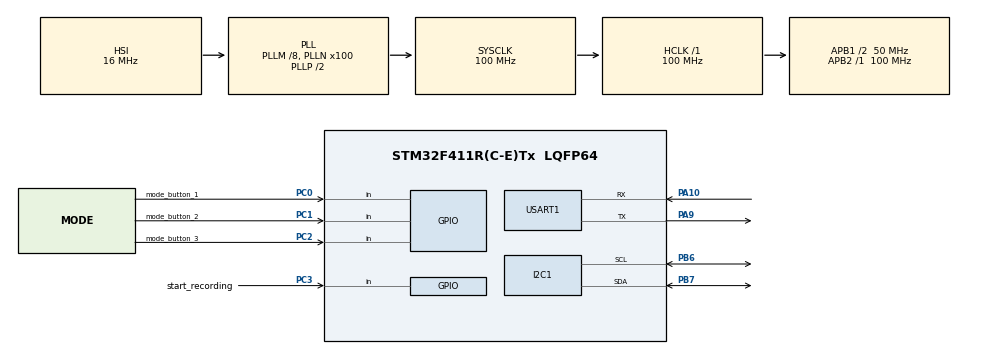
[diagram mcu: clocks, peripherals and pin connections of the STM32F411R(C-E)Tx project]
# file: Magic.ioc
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Dma.I2C1_RX.0.Direction=DMA_PERIPH_TO_MEMORY
Dma.I2C1_RX.0.FIFOMode=DMA_FIFOMODE_DISABLE
Dma.I2C1_RX.0.Instance=DMA1_Stream0
Dma.I2C1_RX.0.MemDataAlignment=DMA_MDATAALIGN_BYTE
Dma.I2C1_RX.0.MemInc=DMA_MINC_ENABLE
Dma.I2C1_RX.0.Mode=DMA_NORMAL
Dma.I2C1_RX.0.PeriphDataAlignment=DMA_PDATAALIGN_BYTE
Dma.I2C1_RX.0.PeriphInc=DMA_PINC_DISABLE
Dma.I2C1_RX.0.Priority=DMA_PRIORITY_LOW
Dma.Request0=I2C1_RX
Mcu.Family=STM32F4
Mcu.Name=STM32F411R(C-E)Tx
Mcu.Package=LQFP64
NVIC.DMA1_Stream0_IRQn=true\:0\:0\:false\:false\:true\:false\:true\:true
NVIC.PriorityGroup=NVIC_PRIORITYGROUP_4
PA10.Mode=Asynchronous
PA10.Signal=USART1_RX
PA9.Mode=Asynchronous
PA9.Signal=USART1_TX
PB6.GPIO_Pu=GPIO_PULLUP
PB6.Mode=I2C
PB6.Signal=I2C1_SCL
PB7.GPIO_Pu=GPIO_PULLUP
PB7.Mode=I2C
PB7.Signal=I2C1_SDA
PC0.GPIO_Label=mode_button_1
PC0.GPIO_PuPd=GPIO_PULLDOWN
PC0.Signal=GPIO_Input
PC1.GPIO_Label=mode_button_2
PC1.GPIO_PuPd=GPIO_PULLDOWN
PC1.Signal=GPIO_Input
PC2.GPIO_Label=mode_button_3
PC2.GPIO_PuPd=GPIO_PULLDOWN
PC2.Signal=GPIO_Input
PC3.GPIO_Label=start_recording
PC3.GPIO_PuPd=GPIO_PULLDOWN
PC3.Signal=GPIO_Input
ProjectManager.HeapSize=0x800
ProjectManager.StackSize=0x800
ProjectManager.TargetToolchain=CMake
RCC.48MHZClocksFreq_Value=28571428.57142857
RCC.AHBFreq_Value=100000000
RCC.APB1CLKDivider=RCC_HCLK_DIV2
RCC.APB1Freq_Value=50000000
RCC.APB1TimFreq_Value=100000000
RCC.APB2Freq_Value=100000000
RCC.APB2TimFreq_Value=100000000
RCC.CortexFreq_Value=100000000
RCC.FLatency-AdvancedSettings=FLASH_LATENCY_3
RCC.HCLKFreq_Value=100000000
RCC.HSE_VALUE=25000000
RCC.HSI_VALUE=16000000
RCC.LSE_VALUE=32768
RCC.PLLM=8
RCC.PLLMUL=RCC_PLL_MUL9
RCC.PLLN=100
RCC.PLLQ=7
RCC.RCC_PLLsource_Clock_Source_FROM_HSE=RCC_HSE_PREDIV_DIV2
RCC.SYSCLKFreq_VALUE=100000000
RCC.SYSCLKSource=RCC_SYSCLKSOURCE_PLLCLK
RCC.SYSCLKSourceVirtual=RCC_SYSCLKSOURCE_PLLCLK
RCC.VCOOutputFreq_Value=200000000
STMicroelectronics.X-CUBE-AI.10.2.0.ActivationBufferSizeList=44468
STMicroelectronics.X-CUBE-AI.10.2.0.ActivationBuffers=pool0
STMicroelectronics.X-CUBE-AI.10.2.0.ActivationNames=pool0
STMicroelectronics.X-CUBE-AI.10.2.0.ActivationSizes=AI_NETWORK_DATA_ACTIVATION_1_SIZE
STMicroelectronics.X-CUBE-AI.10.2.0.HeapSize=0x800
STMicroelectronics.X-CUBE-AI.10.2.0.InternalRamActivationBufferMaxSize=AI_NETWORK_DATA_ACTIVATIONS_SIZE
STMicroelectronics.X-CUBE-AI.10.2.0.LatestDirectoryUsed-aac2bb525f277ee5c01a5426cecc169ef5c06f2aed4a2d6dad746d2e497738af=D\:\\Pobrane
STMicroelectronics.X-CUBE-AI.10.2.0.MaximumNumberOfInputLayer=1
STMicroelectronics.X-CUBE-AI.10.2.0.MaximumNumberOfOutputLayer=1
STMicroelectronics.X-CUBE-AI.10.2.0.MaximumSizeOfInputLayer=1
STMicroelectronics.X-CUBE-AI.10.2.0.MaximumSizeOfOutputLayer=1
STMicroelectronics.X-CUBE-AI.10.2.0.ModelActualCompression-aac2bb525f277ee5c01a5426cecc169ef5c06f2aed4a2d6dad746d2e497738af=0.0
STMicroelectronics.X-CUBE-AI.10.2.0.ModelCompression-aac2bb525f277ee5c01a5426cecc169ef5c06f2aed4a2d6dad746d2e497738af=None
STMicroelectronics.X-CUBE-AI.10.2.0.ModelFlashOccupation-aac2bb525f277ee5c01a5426cecc169ef5c06f2aed4a2d6dad746d2e497738af=250304
STMicroelectronics.X-CUBE-AI.10.2.0.ModelHashList=aac2bb525f277ee5c01a5426cecc169ef5c06f2aed4a2d6dad746d2e497738af
STMicroelectronics.X-CUBE-AI.10.2.0.ModelKind-aac2bb525f277ee5c01a5426cecc169ef5c06f2aed4a2d6dad746d2e497738af=TFLITE
STMicroelectronics.X-CUBE-AI.10.2.0.ModelMacc-aac2bb525f277ee5c01a5426cecc169ef5c06f2aed4a2d6dad746d2e497738af=2096384
STMicroelectronics.X-CUBE-AI.10.2.0.ModelName-aac2bb525f277ee5c01a5426cecc169ef5c06f2aed4a2d6dad746d2e497738af=network
STMicroelectronics.X-CUBE-AI.10.2.0.ModelNameList=network
STMicroelectronics.X-CUBE-AI.10.2.0.ModelRamOccupation-aac2bb525f277ee5c01a5426cecc169ef5c06f2aed4a2d6dad746d2e497738af=44468
STMicroelectronics.X-CUBE-AI.10.2.0.ModelStructureFile-aac2bb525f277ee5c01a5426cecc169ef5c06f2aed4a2d6dad746d2e497738af=D\:\\Pobrane\\model_gestow (9).tflite
STMicroelectronics.X-CUBE-AI.10.2.0.ModelType-aac2bb525f277ee5c01a5426cecc169ef5c06f2aed4a2d6dad746d2e497738af=STM32Cube.AI MCU runtime
STMicroelectronics.X-CUBE-AI.10.2.0.ReadyForCodeGeneration=true
STMicroelectronics.X-CUBE-AI.10.2.0.StackSize=0x800
STMicroelectronics.X-CUBE-AI.10.2.0.WorkingBufferStartAddrList=0xFFFFFFFF
STMicroelectronics.X-CUBE-AI.10.2.0.XAaCUBEAaAICcArtificialOoIntelligenceJjCore=true
STMicroelectronics.X-CUBE-AI.10.2.0.copyWeightToRam=false
STMicroelectronics.X-CUBE-AI.10.2.0.copyWeightToRam-aac2bb525f277ee5c01a5426cecc169ef5c06f2aed4a2d6dad746d2e497738af=false
STMicroelectronics.X-CUBE-AI.10.2.0.customLayerConfigEnabled=false
STMicroelectronics.X-CUBE-AI.10.2.0.customLayerConfigEnabled-aac2bb525f277ee5c01a5426cecc169ef5c06f2aed4a2d6dad746d2e497738af=false
STMicroelectronics.X-CUBE-AI.10.2.0.noOnnxIoTranspose=false
STMicroelectronics.X-CUBE-AI.10.2.0.noOnnxIoTranspose-aac2bb525f277ee5c01a5426cecc169ef5c06f2aed4a2d6dad746d2e497738af=false
STMicroelectronics.X-CUBE-AI.10.2.0.optimization-aac2bb525f277ee5c01a5426cecc169ef5c06f2aed4a2d6dad746d2e497738af=time
STMicroelectronics.X-CUBE-AI.10.2.0.useInputAllocation=true
STMicroelectronics.X-CUBE-AI.10.2.0.useInputAllocation-aac2bb525f277ee5c01a5426cecc169ef5c06f2aed4a2d6dad746d2e497738af=true
STMicroelectronics.X-CUBE-AI.10.2.0.useOutputAllocation=true
STMicroelectronics.X-CUBE-AI.10.2.0.useOutputAllocation-aac2bb525f277ee5c01a5426cecc169ef5c06f2aed4a2d6dad746d2e497738af=true
USART1.VirtualMode=VM_ASYNC
VP_STMicroelectronics.X-CUBE-AI_VS_ArtificialOoIntelligenceJjXAaCUBEAaAI_10.2.0.Mode=ArtificialOoIntelligenceJjXAaCUBEAaAI
board=custom

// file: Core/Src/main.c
/* USER CODE BEGIN Header */
/**
  ******************************************************************************
  * @file           : main.c
  * @brief          : Main program body
  ******************************************************************************
  */
/* USER CODE END Header */
#include "main.h"

/* USER CODE BEGIN Includes */
#include "MPU6050_interface.h"
#include "ai_platform.h"
#include "network.h"      // Zmieniono na relatywną ścieżkę (zakładając poprawny Include Path w CMake)
#include "network_data.h"
#include <string.h>       // Dla memset i memcpy
#include <stdio.h>        // Dla sprintf
/* USER CODE END Includes */

/* USER CODE BEGIN PM */
#define ONE_FULL_SYMBOL_TIME 2000 // Czas w ms między kolejnymi odczytami z MPU6050
#define NUMBER_OF_SAMPLES 100 // Liczba próbek do zebrania podczas nagrywania
#define ONE_SAMPLE_TIME (ONE_FULL_SYMBOL_TIME/NUMBER_OF_SAMPLES) // Czas w ms między kolejnymi odczytami z MPU6050 podczas nagrywania
#define ONE_ML_RUN_INTERVAL 500

static struct MPU6050_Data ONE_BATCH[BATCH_SIZE] = {0}; // Tablica do przechowywania ostatnich 10 odczytów
static struct MPU6050_Data Last_known_data = {0}; // Struktura do przechowywania ostatniego odczytu

/* USER CODE END PM */

I2C_HandleTypeDef hi2c1;
DMA_HandleTypeDef hdma_i2c1_rx;

UART_HandleTypeDef huart1;

/* USER CODE BEGIN PV */
// Zmienne dla AI
ai_handle network = AI_HANDLE_NULL;
ai_buffer *ai_input;
ai_buffer *ai_output;
static ai_network_params params;
/* * POPRAWKA 1: Wymuszenie wyrównania buforów do 32 bajtów (aligned(32)).
 * Zapobiega to błędowi PRECISERR (BusFault) podczas dostępu silnika AI do danych.
 */

/* USER CODE END PV */

void SystemClock_Config(void);
static void MX_GPIO_Init(void);
static void MX_DMA_Init(void);
static void MX_I2C1_Init(void);
static void MX_USART1_UART_Init(void);

/* USER CODE BEGIN 0 */
AI_ALIGNED(32)
static ai_u8 pool0[AI_NETWORK_DATA_ACTIVATIONS_SIZE];

/**
 * POPRAWKA 3: Kompletna i bezpieczna funkcja inicjalizacji.
 * Przekazuje uchwyt 'network' do funkcji pobierających bufory wag i aktywacji.
 */
void MX_X_CUBE_AI_Init(void) {
    ai_error err;

    // 1. Utworzenie instancji
    err = ai_network_create(&network, AI_NETWORK_DATA_CONFIG);
    if (err.type != AI_ERROR_NONE) {
        HAL_UART_Transmit(&huart1, (uint8_t*)"CREATE ERR\r\n", 12, 100);
        return;
    }

    // 2. Czyścimy całą strukturę params (w tym unię i obie struktury wewnątrz)
    memset(&params, 0, sizeof(ai_network_params));

    // 3. Konfiguracja wag (pobieramy domyślne z modelu)
    params.params = ai_network_data_weights_buffer_get(AI_HANDLE_PTR(network));

    // 4. RĘCZNA KONFIGURACJA AKTYWACJI (zgodnie z Twoją strukturą ai_buffer)
    // Używamy AI_BUFFER_FORMAT_NONE lub 0, bo to surowy bufor pamięci dla silnika
    params.activations.format    = 0;
    params.activations.data      = AI_HANDLE_PTR(pool0); // Twój bufor 11KB
    params.activations.meta_info = NULL;
    params.activations.flags     = 0;
    params.activations.size      = 11264; // Liczba bajtów

    // Opcjonalnie: kształt bufora (często wymagane, by nie był zerem)
    // Jeśli Twoja struktura ma n_chunks, ustaw go na 1
    //params.activations.shape.n_chunks = 1;

    // 5. Przekazanie wszystkiego do silnika
    if (!ai_network_init(network, &params)) {
        HAL_UART_Transmit(&huart1, (uint8_t*)"INIT FAIL\r\n", 11, 100);
        while(1);
    }
}
/* USER CODE END 0 */

int main(void)
{

  /* USER CODE BEGIN 1 */
  SCB->CPACR |= ((3UL << 10*2)|(3UL << 11*2));
  /* USER CODE END 1 */

  /* MCU Configuration--------------------------------------------------------*/

  /* Reset of all peripherals, Initializes the Flash interface and the Systick. */
  HAL_Init();

  /* Configure the system clock */
  SystemClock_Config();

  /* Initialize all configured peripherals */
  MX_GPIO_Init();
  MX_DMA_Init();
  MX_I2C1_Init();
  MX_USART1_UART_Init();
  /* USER CODE BEGIN 2 */
 char test[] = "\r\n>>> START\r\n";
  HAL_UART_Transmit(&huart1, (uint8_t*)test, strlen(test), 100);
  HAL_Delay(1000);

  ML_Init();
  uint8_t current_batch_size = 0;
  uint32_t last_time =0;

  int vote_stats[4] = {0, 0, 0, 0}; // Licznik wygranych klas
  uint32_t report_timer = HAL_GetTick();
  /* USER CODE END 2 */

  /* Infinite loop */
  /* USER CODE BEGIN WHILE */
while (1)
{
  // --- 1. POBIERANIE PRÓBKI (np. co 20ms) ---
    // Dodaj zmienną pomocniczą na górze (globalnie lub static)
static int prediction_trigger = 0;

// --- 1. POBIERANIE DANYCH ---
if(HAL_GetTick() - last_time >= ONE_SAMPLE_TIME) {
    last_time = HAL_GetTick();

    MPU6050_Read_All(&Last_known_data);
    MPU6050_Batch_Push_Data(&Last_known_data); // Bufor kołowy o rozmiarze 100

    if(current_batch_size < NUMBER_OF_SAMPLES) {
        current_batch_size++;
    }

    // Licznik próbek do następnego uruchomienia AI
    prediction_trigger++;

    // --- 2. URUCHOMIENIE AI (Co 50 próbek, jeśli bufor jest pełny) ---
    // Zmieniamy warunek: nie czekamy na "pełne nowe 100", tylko na "nowe 50"
    if(current_batch_size == NUMBER_OF_SAMPLES && prediction_trigger >= 50) {
        prediction_trigger = 0; // Resetujemy licznik wyzwalacza

        // Pobieramy ostatnie 100 próbek z bufora kołowego
        MPU6050_Batch_Read(ONE_BATCH);

        float confidences[4] = {0.0f};
        int predicted_class = ML_RunInference((float*)ONE_BATCH, confidences);

        // Głosowanie (zwiększony próg dla pewności przy częstym próbkowaniu)
        if(confidences[predicted_class] > 0.80f) {
            vote_stats[predicted_class]++;
        }
    }
}

    // --- 3. RAPORT CO 2 SEKUNDY ---
    if(HAL_GetTick() - report_timer >= 2000) {
        report_timer = HAL_GetTick();

        // Znajdujemy, który gest zebrał najwięcej głosów
        int winner = 0;
        for(int i = 1; i < 4; i++) {
            if(vote_stats[i] > vote_stats[winner]) winner = i;
        }

        char report[128];
        if(vote_stats[winner] > 0) {
            snprintf(report, sizeof(report),
                "\r\n>>> WYNIK 2s: Klasa %d (%d detekcji) | Staty: [0:%d, 1:%d, 2:%d, 3:%d]\r\n",
                winner, vote_stats[winner], vote_stats[0], vote_stats[1], vote_stats[2], vote_stats[3]);
        } else {
            snprintf(report, sizeof(report), "\r\n>>> WYNIK 2s: Brak pewnych gestow.\r\n");
        }

        HAL_UART_Transmit(&huart1, (uint8_t*)report, strlen(report), 100);

        // Resetujemy statystyki na kolejne 2 sekundy
        memset(vote_stats, 0, sizeof(vote_stats));
    }
    /* USER CODE END WHILE */

  }
}

void SystemClock_Config(void)
{
  RCC_OscInitTypeDef RCC_OscInitStruct = {0};
  RCC_ClkInitTypeDef RCC_ClkInitStruct = {0};

  /** Configure the main internal regulator output voltage
  */
  __HAL_RCC_PWR_CLK_ENABLE();
  __HAL_PWR_VOLTAGESCALING_CONFIG(PWR_REGULATOR_VOLTAGE_SCALE1);

  /** Initializes the RCC Oscillators according to the specified parameters
  * in the RCC_OscInitTypeDef structure.
  */
  RCC_OscInitStruct.OscillatorType = RCC_OSCILLATORTYPE_HSI;
  RCC_OscInitStruct.HSIState = RCC_HSI_ON;
  RCC_OscInitStruct.HSICalibrationValue = RCC_HSICALIBRATION_DEFAULT;
  RCC_OscInitStruct.PLL.PLLState = RCC_PLL_ON;
  RCC_OscInitStruct.PLL.PLLSource = RCC_PLLSOURCE_HSI;
  RCC_OscInitStruct.PLL.PLLM = 8;
  RCC_OscInitStruct.PLL.PLLN = 100;
  RCC_OscInitStruct.PLL.PLLP = RCC_PLLP_DIV2;
  RCC_OscInitStruct.PLL.PLLQ = 7;
  if (HAL_RCC_OscConfig(&RCC_OscInitStruct) != HAL_OK)
  {
    Error_Handler();
  }

  /** Initializes the CPU, AHB and APB buses clocks
  */
  RCC_ClkInitStruct.ClockType = RCC_CLOCKTYPE_HCLK|RCC_CLOCKTYPE_SYSCLK
                              |RCC_CLOCKTYPE_PCLK1|RCC_CLOCKTYPE_PCLK2;
  RCC_ClkInitStruct.SYSCLKSource = RCC_SYSCLKSOURCE_PLLCLK;
  RCC_ClkInitStruct.AHBCLKDivider = RCC_SYSCLK_DIV1;
  RCC_ClkInitStruct.APB1CLKDivider = RCC_HCLK_DIV2;
  RCC_ClkInitStruct.APB2CLKDivider = RCC_HCLK_DIV1;

  if (HAL_RCC_ClockConfig(&RCC_ClkInitStruct, FLASH_LATENCY_3) != HAL_OK)
  {
    Error_Handler();
  }
}

static void MX_I2C1_Init(void)
{

  hi2c1.Instance = I2C1;
  hi2c1.Init.ClockSpeed = 100000;
  hi2c1.Init.DutyCycle = I2C_DUTYCYCLE_2;
  hi2c1.Init.OwnAddress1 = 0;
  hi2c1.Init.AddressingMode = I2C_ADDRESSINGMODE_7BIT;
  hi2c1.Init.DualAddressMode = I2C_DUALADDRESS_DISABLE;
  hi2c1.Init.OwnAddress2 = 0;
  hi2c1.Init.GeneralCallMode = I2C_GENERALCALL_DISABLE;
  hi2c1.Init.NoStretchMode = I2C_NOSTRETCH_DISABLE;
  if (HAL_I2C_Init(&hi2c1) != HAL_OK)
  {
    Error_Handler();
  }

}

static void MX_USART1_UART_Init(void)
{

  huart1.Instance = USART1;
  huart1.Init.BaudRate = 115200;
  huart1.Init.WordLength = UART_WORDLENGTH_8B;
  huart1.Init.StopBits = UART_STOPBITS_1;
  huart1.Init.Parity = UART_PARITY_NONE;
  huart1.Init.Mode = UART_MODE_TX_RX;
  huart1.Init.HwFlowCtl = UART_HWCONTROL_NONE;
  huart1.Init.OverSampling = UART_OVERSAMPLING_16;
  if (HAL_UART_Init(&huart1) != HAL_OK)
  {
    Error_Handler();
  }

}

static void MX_DMA_Init(void)
{

  /* DMA controller clock enable */
  __HAL_RCC_DMA1_CLK_ENABLE();

  /* DMA interrupt init */
  /* DMA1_Stream0_IRQn interrupt configuration */
  HAL_NVIC_SetPriority(DMA1_Stream0_IRQn, 0, 0);
  HAL_NVIC_EnableIRQ(DMA1_Stream0_IRQn);

}

static void MX_GPIO_Init(void)
{
  GPIO_InitTypeDef GPIO_InitStruct = {0};

  /* GPIO Ports Clock Enable */
  __HAL_RCC_GPIOC_CLK_ENABLE();
  __HAL_RCC_GPIOA_CLK_ENABLE();
  __HAL_RCC_GPIOB_CLK_ENABLE();

  /*Configure GPIO pins : mode_button_1_Pin mode_button_2_Pin mode_button_3_Pin start_recording_Pin */
  GPIO_InitStruct.Pin = mode_button_1_Pin|mode_button_2_Pin|mode_button_3_Pin|start_recording_Pin;
  GPIO_InitStruct.Mode = GPIO_MODE_INPUT;
  GPIO_InitStruct.Pull = GPIO_PULLDOWN;
  HAL_GPIO_Init(GPIOC, &GPIO_InitStruct);

}

void Error_Handler(void)
{
  __disable_irq();
  while (1)
  {
  }
}
